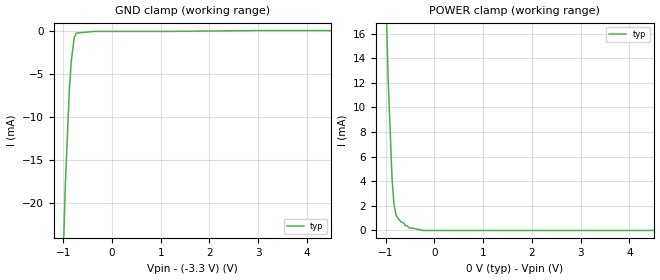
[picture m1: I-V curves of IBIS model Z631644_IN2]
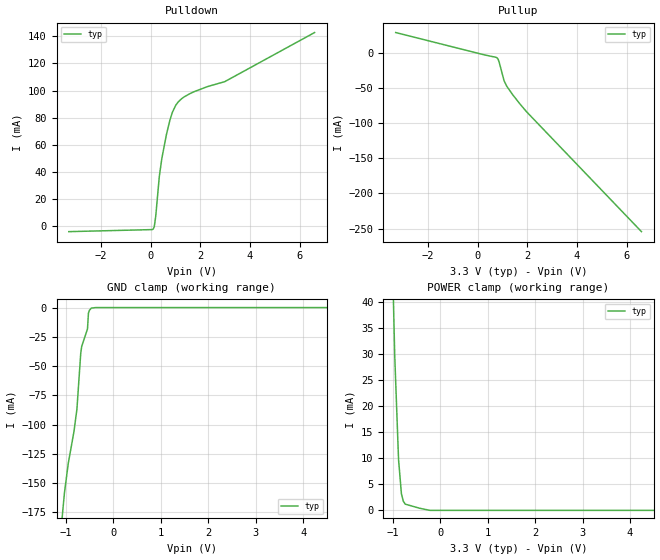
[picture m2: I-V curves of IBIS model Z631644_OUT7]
| YOU ARE ONLY AUTHORIZED TO USE THIS SOFTWARE
| ACCORDING TO LICENSOR'S LICENSE RESTRICTIONS.
[IBIS Ver] 3.1
[File Name] mc100ept25d_-33.ibs
[File Rev] 2.0
[Source] Measured and created by ICX Technology
[Date] Wednesday 11/22/00 2:13:51 PM
[Copyright]
| (C) COPYRIGHT 1993-2000
| MENTOR GRAPHICS CORPORATION
| ICX STANDARD LIBRARY, ICX PROJECT MODELING,
| ICX CUSTOM MODELING, ICX VENDOR MODEL
| ALL RIGHTS RESERVED.
| THE FOLLOWING ARE TRADEMARKS OR SERVICE MARKS OF
| MENTOR GRAPHICS CORPORATION:ICX (R), ICX STANDARD
| LIBRARY(R), ICX PROJECT MODELING(R), ICX CUSTOM
| MODELING(R), qualityIBIS(TM), MODELVIEWER(TM),
| AND MODELEDITOR(TM)
| ALL COPIES OF SOFTWARE, INCLUDING BUT NOT LIMITED TO
| ANY MODIFICATIONS, ENHANCEMENTS OR DERIVATIVE WORKS,
| MUST CONTAIN ALL MENTOR GRAPHICS CORPORATION'S
| NOTICES AND LEGENDS, INCLUDING THOSE EMBEDDED IN
| SOFTWARE AND THOSE AFFIXED TO SOFTWARE MEDIUM
| AND CONTAINER, AS RECEIVED FROM MENTOR GRAPHICS
| CORPORATION.
|  ZAP Model Builder 2.8
[Component] MC100EPT25D_-33
[Manufacturer] OnSemiconductor
[Package]
| variable   typ   min   max
R_pkg  .152ohms NA NA
L_pkg  2.714nH NA NA
C_pkg  .364pF NA NA
[Pin] signal_name  model_name  R_pin  L_pin C_pin
1 VEE POWER .154 2.924n .374p
2 D Z631644_IN2 .15 2.504n .354p
3 _D Z631644_IN2 .15 2.504n .354p
4 VBB POWER .154 2.924n .374p
5 GND GND .154 2.924n .374p
6 NC NC .15 2.504n .354p
7 Q Z631644_OUT7 .15 2.504n .354p
8 VCC POWER .154 2.924n .374p
[Diff Pin] inv_pin vdiff tdelay_typ tdelay_min tdelay_max
2 3 100mv NA NA NA
| Models and submodels in the file (2): Z631644_IN2 (Input_ECL), Z631644_OUT7 (Output)
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| (C) COPYRIGHT 1993-2000
| MENTOR GRAPHICS CORPORATION
| ICX STANDARD LIBRARY, ICX PROJECT MODELING,
| ICX CUSTOM MODELING, ICX VENDOR MODEL
| ALL RIGHTS RESERVED.
| THE FOLLOWING ARE TRADEMARKS OR SERVICE MARKS OF
| MENTOR GRAPHICS CORPORATION:ICX (R), ICX STANDARD
| LIBRARY(R), ICX PROJECT MODELING(R), ICX CUSTOM
| MODELING(R), qualityIBIS(TM), MODELVIEWER(TM),
| AND MODELEDITOR(TM)
| ALL COPIES OF SOFTWARE, INCLUDING BUT NOT LIMITED TO
| ANY MODIFICATIONS, ENHANCEMENTS OR DERIVATIVE WORKS,
| MUST CONTAIN ALL MENTOR GRAPHICS CORPORATION'S
| NOTICES AND LEGENDS, INCLUDING THOSE EMBEDDED IN
| SOFTWARE AND THOSE AFFIXED TO SOFTWARE MEDIUM
| AND CONTAINER, AS RECEIVED FROM MENTOR GRAPHICS
| CORPORATION.
| Model Application Version 1.89 2/18/99.
[Model] Z631644_IN2
Model_type Input_ECL
Vinl = -1.625V
Vinh = -1.165V
C_comp 3.000pF NA NA
| variable typ   min   max
[Voltage Range] -3.300V NA NA
[GND Clamp Reference] -3.300V NA NA
[POWER Clamp Reference] 0.000V NA NA
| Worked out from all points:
|   GND clamp passes 1 mA (typ) near -0.78 V on its own axis
|   POWER clamp passes 1 mA (typ) near -0.75 V on its own axis
[GND Clamp]
-3.3V     -562.8mA   NA         NA
-1.058V   -37mA      NA         NA
-957mV    -17.9mA    NA         NA
-876mV    -6.9mA     NA         NA
-835mV    -3.4mA     NA         NA
-774mV    -700uA     NA         NA
-734mV    -200uA     NA         NA
-367mV    0A         NA         NA
1.182V    0A         NA         NA
3.037V    100uA      NA         NA
6.6V      100uA      NA         NA
[POWER Clamp]
-3.3V     461.6mA    NA         NA
-1.054V   28.2mA     NA         NA
-953mV    12.5mA     NA         NA
-871mV    4.2mA      NA         NA
-831mV    2.1mA      NA         NA
-790mV    1.3mA      NA         NA
-770mV    1.1mA      NA         NA
-689mV    700uA      NA         NA
-628mV    600uA      NA         NA
-516.5mV  200uA      NA         NA
-233mV    0A         NA         NA
6.6V      0A         NA         NA
| (C) COPYRIGHT 1993-2000
| MENTOR GRAPHICS CORPORATION
| ICX STANDARD LIBRARY, ICX PROJECT MODELING,
| ICX CUSTOM MODELING, ICX VENDOR MODEL
| ALL RIGHTS RESERVED.
| THE FOLLOWING ARE TRADEMARKS OR SERVICE MARKS OF
| MENTOR GRAPHICS CORPORATION:ICX (R), ICX STANDARD
| LIBRARY(R), ICX PROJECT MODELING(R), ICX CUSTOM
| MODELING(R), qualityIBIS(TM), MODELVIEWER(TM),
| AND MODELEDITOR(TM)
| ALL COPIES OF SOFTWARE, INCLUDING BUT NOT LIMITED TO
| ANY MODIFICATIONS, ENHANCEMENTS OR DERIVATIVE WORKS,
| MUST CONTAIN ALL MENTOR GRAPHICS CORPORATION'S
| NOTICES AND LEGENDS, INCLUDING THOSE EMBEDDED IN
| SOFTWARE AND THOSE AFFIXED TO SOFTWARE MEDIUM
| AND CONTAINER, AS RECEIVED FROM MENTOR GRAPHICS
| CORPORATION.
| Model Application Version 1.89 2/18/99.
[Model] Z631644_OUT7
Model_type Output
Vref=3.300V
Rref=500.0ohms
Cref=20.00pF
Vmeas=1.350V
C_comp 8.000pF NA NA
| variable typ   min   max
[Voltage Range] 3.300V NA NA
[POWER Clamp Reference] 3.300V NA NA
[Pullup Reference] 3.300V NA NA
[Pulldown Reference] 0.000V NA NA
[GND Clamp Reference] 0.000V NA NA
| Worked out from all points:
|   slope of the pulldown table from 0 to 0.495 V, typ, clamps not added: 8.68 ohm
|   slope of the pullup table from 0 to 0.495 V, typ, clamps not added: 121 ohm
|   GND clamp passes 1 mA (typ) near -0.48 V on its own axis
[GND Clamp]
-3.3V     -1.155A    NA         NA
-1.034V   -158.7mA   NA         NA
-953mV    -133.3mA   NA         NA
-831mV    -105.6mA   NA         NA
-770mV    -86.73mA   NA         NA
-689mV    -38.86mA   NA         NA
-669mV    -33.17mA   NA         NA
-547mV    -18.23mA   NA         NA
-527mV    -4.736mA   NA         NA
-507mV    -2.345mA   NA         NA
-466mV    -463.7uA   NA         NA
6.6V      0A         NA         NA
[Pulldown]
-3.3V     -3.907mA   NA         NA
101mV     -1.9mA     NA         NA
142mV     -300uA     NA         NA
203mV     7.7mA      NA         NA
345mV     36.7mA     NA         NA
446mV     49.9mA     NA         NA
628mV     67.3mA     NA         NA
871mV     84mA       NA         NA
1.115V    91.8mA     NA         NA
1.743V    99.2mA     NA         NA
2.98V     106.6mA    NA         NA
6.6V      142.8mA    NA         NA
[Pullup]
-3.3V     29.43mA    NA         NA
782mV     -6.6mA     NA         NA
822mV     -8.4mA     NA         NA
863mV     -12.2mA    NA         NA
1.065V    -39.2mA    NA         NA
1.167V    -46.7mA    NA         NA
1.694V    -71.9mA    NA         NA
1.977V    -83.7mA    NA         NA
6.6V      -254.4mA   NA         NA
[POWER Clamp]
-3.3V     942.4mA    NA         NA
-962mV    30.01mA    NA         NA
-881mV    9.83mA     NA         NA
-820mV    3.173mA    NA         NA
-779mV    1.739mA    NA         NA
-739mV    1.195mA    NA         NA
-435mV    404uA      NA         NA
-217.5mV  0A         NA         NA
6.6V      0A         NA         NA
[Ramp]
| variable typ min max
dV/dt_r 1.497/336.2p NA NA
dV/dt_f 1.497/519.7p NA NA
R_load = 500.0Ohms
